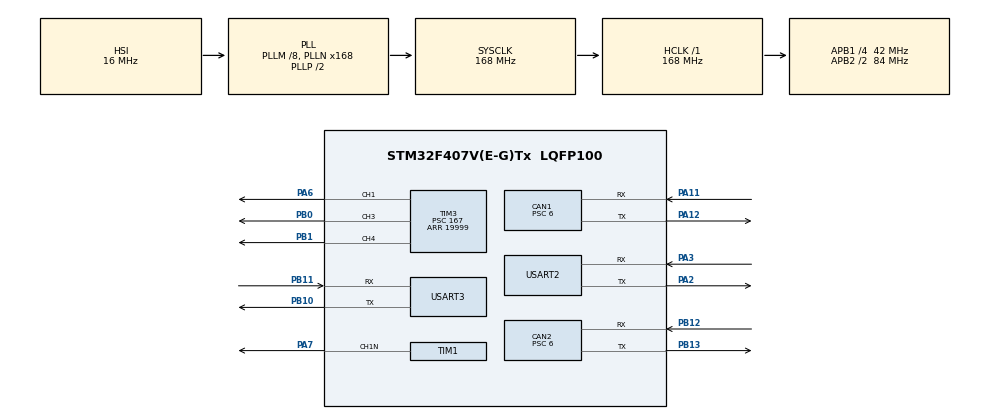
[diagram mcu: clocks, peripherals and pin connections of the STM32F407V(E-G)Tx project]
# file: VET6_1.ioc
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CAN1.BS1=CAN_BS1_5TQ
CAN1.CalculateBaudRate=1000000
CAN1.CalculateTimeBit=1000
CAN1.CalculateTimeQuantum=142.85714285714286
CAN1.Prescaler=6
CAN2.ABOM=ENABLE
CAN2.BS1=CAN_BS1_5TQ
CAN2.CalculateBaudRate=1000000
CAN2.CalculateTimeBit=1000
CAN2.CalculateTimeQuantum=142.85714285714286
CAN2.Prescaler=6
FREERTOS.Tasks01=defaultTask,0,256,StartDefaultTask,As weak,NULL,Dynamic,NULL,NULL;upperstart,-3,512,upperstarttask,As weak,NULL,Dynamic,NULL,NULL;upperservo,-3,640,upperservotask,As weak,NULL,Dynamic,NULL,NULL;uppergoing,-3,1792,uppergoingtask,As weak,NULL,Dynamic,NULL,NULL
Mcu.Family=STM32F4
Mcu.Name=STM32F407V(E-G)Tx
Mcu.Package=LQFP100
NVIC.CAN1_RX0_IRQn=true\:5\:0\:false\:false\:true\:true\:true\:true\:true
NVIC.CAN2_RX0_IRQn=true\:5\:0\:true\:false\:true\:true\:true\:true\:true
NVIC.PriorityGroup=NVIC_PRIORITYGROUP_4
NVIC.TIM2_IRQn=true\:15\:0\:false\:false\:true\:false\:false\:true\:true
NVIC.TimeBase=TIM2_IRQn
NVIC.TimeBaseIP=TIM2
NVIC.USART2_IRQn=true\:5\:0\:false\:false\:true\:true\:true\:true\:true
NVIC.USART3_IRQn=true\:5\:0\:false\:false\:true\:true\:true\:true\:true
PA11.Mode=CAN_Activate
PA11.Signal=CAN1_RX
PA12.Mode=CAN_Activate
PA12.Signal=CAN1_TX
PA13.Mode=Serial_Wire
PA13.Signal=SYS_JTMS-SWDIO
PA14.Mode=Serial_Wire
PA14.Signal=SYS_JTCK-SWCLK
PA2.Mode=Asynchronous
PA2.Signal=USART2_TX
PA3.Mode=Asynchronous
PA3.Signal=USART2_RX
PA6.Signal=S_TIM3_CH1
PA7.Mode=PWM Generation1 CH1N
PA7.Signal=TIM1_CH1N
PB0.Signal=S_TIM3_CH3
PB1.Signal=S_TIM3_CH4
PB10.Mode=Asynchronous
PB10.Signal=USART3_TX
PB11.Mode=Asynchronous
PB11.Signal=USART3_RX
PB12.Mode=CAN_Activate
PB12.Signal=CAN2_RX
PB13.Mode=CAN_Activate
PB13.Signal=CAN2_TX
PH0-OSC_IN.Mode=HSE-External-Oscillator
PH0-OSC_IN.Signal=RCC_OSC_IN
PH1-OSC_OUT.Mode=HSE-External-Oscillator
PH1-OSC_OUT.Signal=RCC_OSC_OUT
ProjectManager.HeapSize=0x200
ProjectManager.StackSize=0x400
ProjectManager.TargetToolchain=Makefile
RCC.48MHZClocksFreq_Value=84000000
RCC.AHBFreq_Value=168000000
RCC.APB1CLKDivider=RCC_HCLK_DIV4
RCC.APB1Freq_Value=42000000
RCC.APB1TimFreq_Value=84000000
RCC.APB2CLKDivider=RCC_HCLK_DIV2
RCC.APB2Freq_Value=84000000
RCC.APB2TimFreq_Value=168000000
RCC.CortexFreq_Value=168000000
RCC.HCLKFreq_Value=168000000
RCC.HSE_VALUE=8000000
RCC.HSI_VALUE=16000000
RCC.LSE_VALUE=32768
RCC.PLLM=8
RCC.PLLN=168
RCC.SYSCLKFreq_VALUE=168000000
RCC.SYSCLKSource=RCC_SYSCLKSOURCE_PLLCLK
RCC.VCOOutputFreq_Value=336000000
SH.S_TIM3_CH1.0=TIM3_CH1,PWM Generation1 CH1
SH.S_TIM3_CH3.0=TIM3_CH3,PWM Generation3 CH3
SH.S_TIM3_CH4.0=TIM3_CH4,PWM Generation4 CH4
TIM1.Channel-PWM\ Generation1\ CH1N=TIM_CHANNEL_1
TIM3.AutoReloadPreload=TIM_AUTORELOAD_PRELOAD_ENABLE
TIM3.Channel-Output\ Compare2\ No\ Output=TIM_CHANNEL_2
TIM3.Channel-PWM\ Generation1\ CH1=TIM_CHANNEL_1
TIM3.Channel-PWM\ Generation3\ CH3=TIM_CHANNEL_3
TIM3.Channel-PWM\ Generation4\ CH4=TIM_CHANNEL_4
TIM3.Period=19999
TIM3.Prescaler=167
USART2.VirtualMode=VM_ASYNC
USART3.VirtualMode=VM_ASYNC
VP_FREERTOS_VS_CMSIS_V1.Mode=CMSIS_V1
VP_SYS_VS_tim2.Mode=TIM2
VP_TIM3_VS_no_output2.Mode=Output Compare2 No Output
board=custom

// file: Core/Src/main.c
/* USER CODE BEGIN Header */
/**
  ******************************************************************************
  * @file           : main.c
  * @brief          : Main program body
  ******************************************************************************
  * @attention
  *
  * Copyright (c) 2025 STMicroelectronics.
  * All rights reserved.
  *
  * This software is licensed under terms that can be found in the LICENSE file
  * in the root directory of this software component.
  * If no LICENSE file comes with this software, it is provided AS-IS.
  *
  ******************************************************************************
  */
/* USER CODE END Header */
#include "main.h"
#include "cmsis_os.h"
#include "can.h"
#include "tim.h"
#include "usart.h"
#include "gpio.h"

/* USER CODE BEGIN Includes */

#include "DJI.h"
#include "wtr_can.h"
#include "wtr_uart.h"
#include "Caculate.h"
#include "decode.h"
#include "PID.h"
#include "retarget.h"
#include "Servo.h"
#include "param.h"

/* USER CODE END Includes */

/* USER CODE BEGIN PV */

/* STP-23L use PV */
extern uint8_t Rxbuffer_3[195];
extern LidarPointTypedef Lidar1;
extern uint16_t UartFlag[6];
extern uint8_t usart3_rx[1];
uint16_t trustFlag = 0;
int distance = 0; //用以串口重定向传输数据的变量

/* USER CODE END PV */

void SystemClock_Config(void);
void MX_FREERTOS_Init(void);

int main(void)
{

  /* MCU Configuration--------------------------------------------------------*/

  /* Reset of all peripherals, Initializes the Flash interface and the Systick. */
  HAL_Init();

  /* Configure the system clock */
  SystemClock_Config();

  /* Initialize all configured peripherals */
  MX_GPIO_Init();
  MX_CAN1_Init();
  MX_TIM1_Init();
  MX_TIM3_Init();
  MX_USART2_UART_Init();
  MX_USART3_UART_Init();
  MX_CAN2_Init();
  /* USER CODE BEGIN 2 */

  HAL_UART_Receive_IT(&huart3,(uint8_t*)rxbuffer,1);

  while(trustFlag < 3)
  {
    trustFlag += marrying(box, stack, num);
  }
  if(trustFlag >= 3)
  {
    //HAL_UART_Transmit(&huart2, (uint8_t*)"Trust established!\r\n", 20, 100);
    MX_FREERTOS_Init();
  }
  //MX_FREERTOS_Init();
  /* USER CODE END 2 */

  /* Call init function for freertos objects (in freertos.c) */
  //MX_FREERTOS_Init();

  /* Start scheduler */
  osKernelStart();

  /* We should never get here as control is now taken by the scheduler */
  /* Infinite loop */
  while (1)
  {

  }
}

void SystemClock_Config(void)
{
  RCC_OscInitTypeDef RCC_OscInitStruct = {0};
  RCC_ClkInitTypeDef RCC_ClkInitStruct = {0};

  /** Configure the main internal regulator output voltage
  */
  __HAL_RCC_PWR_CLK_ENABLE();
  __HAL_PWR_VOLTAGESCALING_CONFIG(PWR_REGULATOR_VOLTAGE_SCALE1);

  /** Initializes the RCC Oscillators according to the specified parameters
  * in the RCC_OscInitTypeDef structure.
  */
  RCC_OscInitStruct.OscillatorType = RCC_OSCILLATORTYPE_HSI;
  RCC_OscInitStruct.HSIState = RCC_HSI_ON;
  RCC_OscInitStruct.HSICalibrationValue = RCC_HSICALIBRATION_DEFAULT;
  RCC_OscInitStruct.PLL.PLLState = RCC_PLL_ON;
  RCC_OscInitStruct.PLL.PLLSource = RCC_PLLSOURCE_HSI;
  RCC_OscInitStruct.PLL.PLLM = 8;
  RCC_OscInitStruct.PLL.PLLN = 168;
  RCC_OscInitStruct.PLL.PLLP = RCC_PLLP_DIV2;
  RCC_OscInitStruct.PLL.PLLQ = 4;
  if (HAL_RCC_OscConfig(&RCC_OscInitStruct) != HAL_OK)
  {
    Error_Handler();
  }

  /** Initializes the CPU, AHB and APB buses clocks
  */
  RCC_ClkInitStruct.ClockType = RCC_CLOCKTYPE_HCLK|RCC_CLOCKTYPE_SYSCLK
                              |RCC_CLOCKTYPE_PCLK1|RCC_CLOCKTYPE_PCLK2;
  RCC_ClkInitStruct.SYSCLKSource = RCC_SYSCLKSOURCE_PLLCLK;
  RCC_ClkInitStruct.AHBCLKDivider = RCC_SYSCLK_DIV1;
  RCC_ClkInitStruct.APB1CLKDivider = RCC_HCLK_DIV4;
  RCC_ClkInitStruct.APB2CLKDivider = RCC_HCLK_DIV2;

  if (HAL_RCC_ClockConfig(&RCC_ClkInitStruct, FLASH_LATENCY_5) != HAL_OK)
  {
    Error_Handler();
  }
}

void HAL_TIM_PeriodElapsedCallback(TIM_HandleTypeDef *htim)
{
  if (htim->Instance == TIM2) {
    HAL_IncTick();
  }
}

void Error_Handler(void)
{
  /* USER CODE BEGIN Error_Handler_Debug */
  /* User can add his own implementation to report the HAL error return state */
  __disable_irq();
  while (1)
  {
    printf("Error occurred!\n"); // Print error message to USART2
  }
  /* USER CODE END Error_Handler_Debug */
}

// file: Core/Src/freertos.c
/* USER CODE BEGIN Header */
/**
  ******************************************************************************
  * File Name          : freertos.c
  * Description        : Code for freertos applications
  ******************************************************************************
  * @attention
  *
  * Copyright (c) 2025 STMicroelectronics.
  * All rights reserved.
  *
  * This software is licensed under terms that can be found in the LICENSE file
  * in the root directory of this software component.
  * If no LICENSE file comes with this software, it is provided AS-IS.
  *
  ******************************************************************************
  */
/* USER CODE END Header */

#include "FreeRTOS.h"
#include "task.h"
#include "main.h"
#include "cmsis_os.h"

osThreadId defaultTaskHandle;
osThreadId upperstartHandle;
osThreadId upperservoHandle;
osThreadId uppergoingHandle;

void StartDefaultTask(void const * argument);
void upperstarttask(void const * argument);
void upperservotask(void const * argument);
void uppergoingtask(void const * argument);

void MX_FREERTOS_Init(void); /* (MISRA C 2004 rule 8.1) */

/* GetIdleTaskMemory prototype (linked to static allocation support) */
void vApplicationGetIdleTaskMemory( StaticTask_t **ppxIdleTaskTCBBuffer, StackType_t **ppxIdleTaskStackBuffer, uint32_t *pulIdleTaskStackSize );

/* USER CODE BEGIN GET_IDLE_TASK_MEMORY */
static StaticTask_t xIdleTaskTCBBuffer;
static StackType_t xIdleStack[configMINIMAL_STACK_SIZE];

void vApplicationGetIdleTaskMemory( StaticTask_t **ppxIdleTaskTCBBuffer, StackType_t **ppxIdleTaskStackBuffer, uint32_t *pulIdleTaskStackSize )
{
  *ppxIdleTaskTCBBuffer = &xIdleTaskTCBBuffer;
  *ppxIdleTaskStackBuffer = &xIdleStack[0];
  *pulIdleTaskStackSize = configMINIMAL_STACK_SIZE;
  /* place for user code */
}
/* USER CODE END GET_IDLE_TASK_MEMORY */

void MX_FREERTOS_Init(void) {
  /* USER CODE BEGIN Init */
  osDelay(3000);
  /* USER CODE END Init */

  /* Create the thread(s) */
  /* definition and creation of defaultTask */
  osThreadDef(defaultTask, StartDefaultTask, osPriorityNormal, 0, 256);
  defaultTaskHandle = osThreadCreate(osThread(defaultTask), NULL);

  /* definition and creation of upperstart */
  osThreadDef(upperstart, upperstarttask, osPriorityIdle, 0, 512);
  upperstartHandle = osThreadCreate(osThread(upperstart), NULL);

  /* definition and creation of upperservo */
  osThreadDef(upperservo, upperservotask, osPriorityIdle, 0, 640);
  upperservoHandle = osThreadCreate(osThread(upperservo), NULL);

  /* definition and creation of uppergoing */
  osThreadDef(uppergoing, uppergoingtask, osPriorityIdle, 0, 1792);
  uppergoingHandle = osThreadCreate(osThread(uppergoing), NULL);

}

__weak void StartDefaultTask(void const * argument)
{
  for(;;)
  {
    osDelay(1);
  }
}

__weak void upperstarttask(void const * argument)
{
  for(;;)
  {
    osDelay(1);
  }
}

__weak void upperservotask(void const * argument)
{
  for(;;)
  {
    osDelay(1);
  }
}

__weak void uppergoingtask(void const * argument)
{
  for(;;)
  {
    osDelay(1);
  }
}
